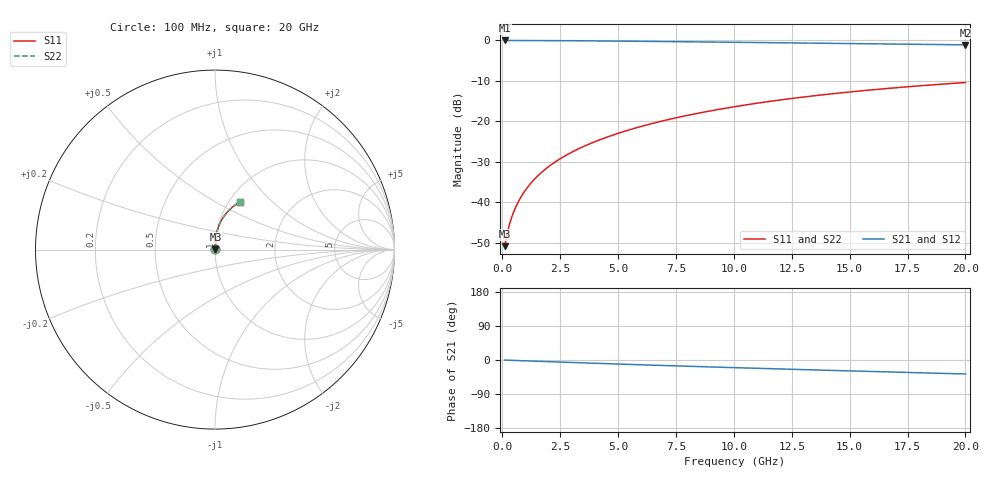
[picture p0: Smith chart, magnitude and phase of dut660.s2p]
! Touchstone file exported from HFSS 2024.1.0
!  File:  C:/UserFiles/LocalFiles/RDL_TSV_Batchsim/temp_RDL_bottom_660_1779785732.aedt
!  Generated:  04:57:44 PM May 26, 2026
!  Design:  RDL_bottom
!  Project:  temp_RDL_bottom_660_1779785732
!  Setup:  Setup1
!  Solution:  Sweep
! Variables:
!  dtsv = 10.80580581um
!  hbump = 3um
!  htsv = 78.95um
!  ldown = 558.93um
!  lrdl = 100um
!  p = 40
!  p1 = 43.23um
!  rhole = 1um
!  t = 450um
!  tdown = 4.04um
!  trdl = 3.915915916um
!  wdown = 22.28um
!  wrdl = 20um
# GHz S MA R 50.000000
! Terminal data exported
! Port[1] = RDL1_T1
! Port[2] = RDL1_T2
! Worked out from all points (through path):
!   200 points, 100 MHz to 20 GHz, reference 50 ohm
!   highest |S21| = -0.02 dB at 100 MHz (marker M1); lowest = -1.1 dB at 20 GHz (marker M2)
!   group delay of S21, straight-line fit = 5.07 ps
!   lowest |S11| = -50.9 dB at 100 MHz (marker M3), VSWR 1.01, Z = 50.2 + j0.158 ohm
!   |S11| at or under -10 dB: start of sweep to end of sweep
!   |S22| runs from -50.9 to -10.4 dB; largest |S21 - S12| = 2.1e-15
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0.1  0.002863 33.3  0.9976 -0.2  0.9976 -0.2  0.002863 33.3
! Gamma 0 0 0 0
! Port Impedance 50 0 50 0
0.2  0.003974 50.2  0.9974 -0.5  0.9974 -0.5  0.003974 50.2
0.3  0.005203 58.8  0.9972 -0.7  0.9972 -0.7  0.005204 58.8
0.4  0.006446 64.1  0.9971 -0.9  0.9971 -0.9  0.006446 64.1
0.5  0.007693 67.8  0.9969 -1.1  0.9969 -1.1  0.007694 67.8
0.6  0.008951 70.6  0.9968 -1.3  0.9968 -1.3  0.008951 70.6
0.8  0.0115 74.6  0.9965 -1.8  0.9965 -1.8  0.0115 74.6
1.1  0.01541 78.3  0.996 -2.4  0.996 -2.4  0.01541 78.3
1.3  0.01806 79.9  0.9956 -2.9  0.9956 -2.9  0.01806 79.9
1.6  0.02209 81.6  0.9949 -3.5  0.9949 -3.5  0.02209 81.6
2.1  0.02891 83.3  0.9934 -4.6  0.9934 -4.6  0.0289 83.3
2.7  0.03726 84.5  0.9913 -5.9  0.9913 -5.9  0.03726 84.4
3.5  0.04869 85.2  0.9878 -7.6  0.9878 -7.6  0.04868 85.1
4.2  0.05897 85.3  0.9843 -9.0  0.9843 -9.0  0.05895 85.3
5  0.07101 85.1  0.9798 -10.7  0.9798 -10.7  0.07099 85.1
6.8  0.09914 83.7  0.9686 -14.2  0.9686 -14.2  0.0991 83.6
8.4  0.1249 81.7  0.958 -17.2  0.958 -17.2  0.1249 81.6
10.1  0.1527 79.1  0.9466 -20.3  0.9466 -20.3  0.1526 79.1
11.7  0.1786 76.4  0.9358 -23.2  0.9358 -23.2  0.1785 76.4
13.4  0.2056 73.5  0.9243 -26.1  0.9243 -26.1  0.2055 73.5
16.7  0.2555 67.7  0.9022 -31.6  0.9022 -31.6  0.2554 67.6
20  0.3012 62.0  0.8804 -36.9  0.8804 -36.9  0.301 62.0
